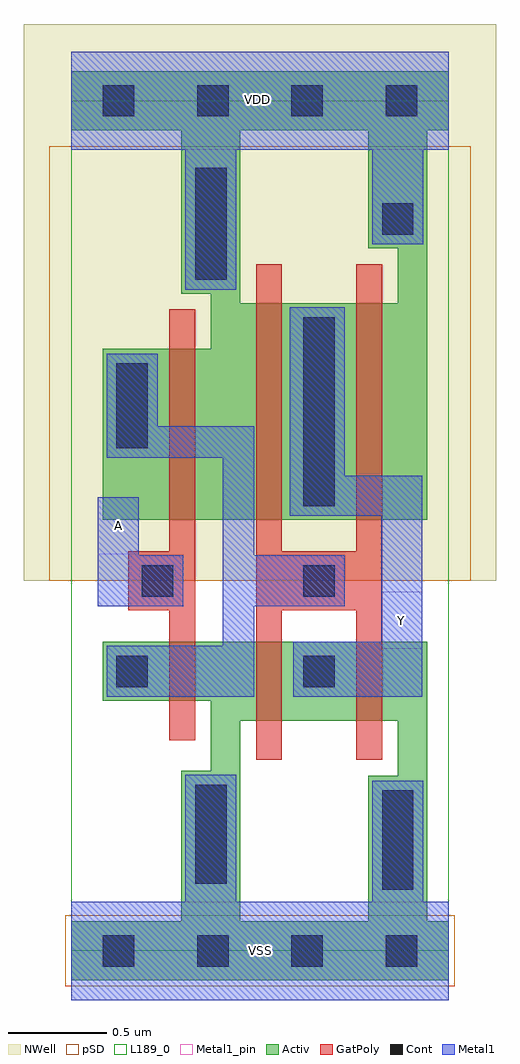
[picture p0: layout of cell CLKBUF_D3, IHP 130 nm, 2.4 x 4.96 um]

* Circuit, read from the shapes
.subckt CLKBUF_D3 A VDD VSS Y
XM1 VSS A n1 VSS sg13_lv_nmos w=0.3u l=0.13u
XM2 Y n1 VSS VSS sg13_lv_nmos w=0.4u l=0.13u m=2
XM3 VDD A n1 VDD sg13_lv_pmos w=0.87u l=0.13u
XM4 Y n1 VDD VDD sg13_lv_pmos w=1.1u l=0.13u m=2
.ends

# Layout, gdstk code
import gdstk
lib = gdstk.Library(unit=1e-6, precision=1e-09)
def R(c, l, rs):  # rectangles x0, y0, x1, y1
    for r in rs: c.add(gdstk.rectangle(r[:2], r[2:], *l))
def A(c, l, x, y, w, h, nx, ny, dx, dy):  # array of equal rectangles
    R(c, l, [(x+i*dx, y+j*dy, x+i*dx+w, y+j*dy+h) for i in range(nx) for j in range(ny)])
def P(c, l, *ps):  # polygons
    for p in ps: c.add(gdstk.Polygon(p, *l))
Activ = (1, 0)
GatPoly = (5, 0)
Cont = (6, 0)
Metal1 = (8, 0)
Metal1_pin = (8, 2)
pSD = (14, 0)
NWell = (31, 0)
L189_0 = (189, 0)

clkbuf_d3 = lib.new_cell('CLKBUF_D3')
P(clkbuf_d3, Activ, [(0,-0.15),(0,0.15),(0.56,0.15),(0.86,0.15),(1.51,0.15),(1.51,0.89),(1.66,0.89),(1.66,1.17),(0.86,1.17),(0.86,0.15),(0.56,0.15),(0.56,0.915),(0.71,0.915),(0.71,1.27),(0.16,1.27),(0.16,1.57),(1.81,1.57),(1.81,0.15),(1.92,0.15),(1.92,-0.15)],
  [(0.16,2.19),(0.16,3.06),(0.71,3.06),(0.71,3.29),(0.86,3.29),(1.66,3.29),(1.66,3.57),(1.51,3.57),(1.51,4.17),(0.86,4.17),(0.86,3.29),(0.71,3.29),(0.71,3.34),(0.56,3.34),(0.56,4.17),(0,4.17),(0,4.47),(1.92,4.47),(1.92,4.17),(1.81,4.17),(1.81,2.19)])
P(clkbuf_d3, GatPoly, [(0.94,0.97),(0.94,3.49),(1.07,3.49),(1.07,2.03),(1.45,2.03),(1.45,3.49),(1.58,3.49),(1.58,0.97),(1.45,0.97),(1.45,1.73),(1.07,1.73),(1.07,0.97)],
  [(0.5,1.07),(0.5,1.73),(0.29,1.73),(0.29,2.03),(0.5,2.03),(0.5,3.26),(0.63,3.26),(0.63,1.07)])
A(clkbuf_d3, Cont, 0.16, -0.08, 0.16, 0.16, 4, 2, 0.48, 4.32)
R(clkbuf_d3, Cont, [(1.58,0.31,1.74,0.815), (0.63,0.34,0.79,0.845), (0.23,1.34,0.39,1.5), (1.18,1.34,1.34,1.5), (0.36,1.8,0.52,1.96), (1.18,1.8,1.34,1.96), (1.18,2.26,1.34,3.22), (0.23,2.555,0.39,2.985), (0.63,3.41,0.79,3.98), (1.58,3.64,1.74,3.8)])
R(clkbuf_d3, Metal1, [(0.58,3.36,0.84,4.07)])
P(clkbuf_d3, Metal1, [(1.53,3.59),(1.53,4.07),(0,4.07),(0,4.57),(1.92,4.57),(1.92,4.07),(1.79,4.07),(1.79,3.59)],
  [(0.18,1.29),(0.18,1.55),(0.77,1.55),(0.77,2.505),(0.18,2.505),(0.18,3.035),(0.44,3.035),(0.44,2.665),(0.93,2.665),(0.93,2.01),(1.39,2.01),(1.39,1.75),(0.93,1.75),(0.93,1.29)],
  [(1.13,1.29),(1.13,1.57),(1.575,1.57),(1.575,2.21),(1.11,2.21),(1.11,3.27),(1.39,3.27),(1.39,2.415),(1.785,2.415),(1.785,1.29)],
  [(0.135,1.75),(0.135,2.305),(0.345,2.305),(0.345,2.01),(0.57,2.01),(0.57,1.75)],
  [(0,-0.25),(0,0.25),(0.58,0.25),(0.58,0.895),(0.84,0.895),(0.84,0.25),(1.53,0.25),(1.53,0.865),(1.79,0.865),(1.79,0.25),(1.92,0.25),(1.92,-0.25)])
R(clkbuf_d3, Metal1_pin, [(0,-0.25,1.92,0.25), (1.575,1.535,1.785,1.825), (0.135,2.015,0.345,2.305), (0,4.07,1.92,4.57)])
R(clkbuf_d3, pSD, [(-0.03,-0.18,1.95,0.18), (-0.11,1.88,2.03,4.09)])
R(clkbuf_d3, NWell, [(-0.24,1.88,2.16,4.71)])
R(clkbuf_d3, L189_0, [(0,0,1.92,4.32)])
clkbuf_d3.add(gdstk.Label('Y', (1.68,1.68), layer=8, texttype=25))
clkbuf_d3.add(gdstk.Label('A', (0.24,2.16), layer=8, texttype=25))
clkbuf_d3.add(gdstk.Label('VDD', (0.945,4.325), layer=8, texttype=25))
clkbuf_d3.add(gdstk.Label('VSS', (0.965,0), layer=8, texttype=25))

lib.write_gds('CLKBUF_D3.gds')
